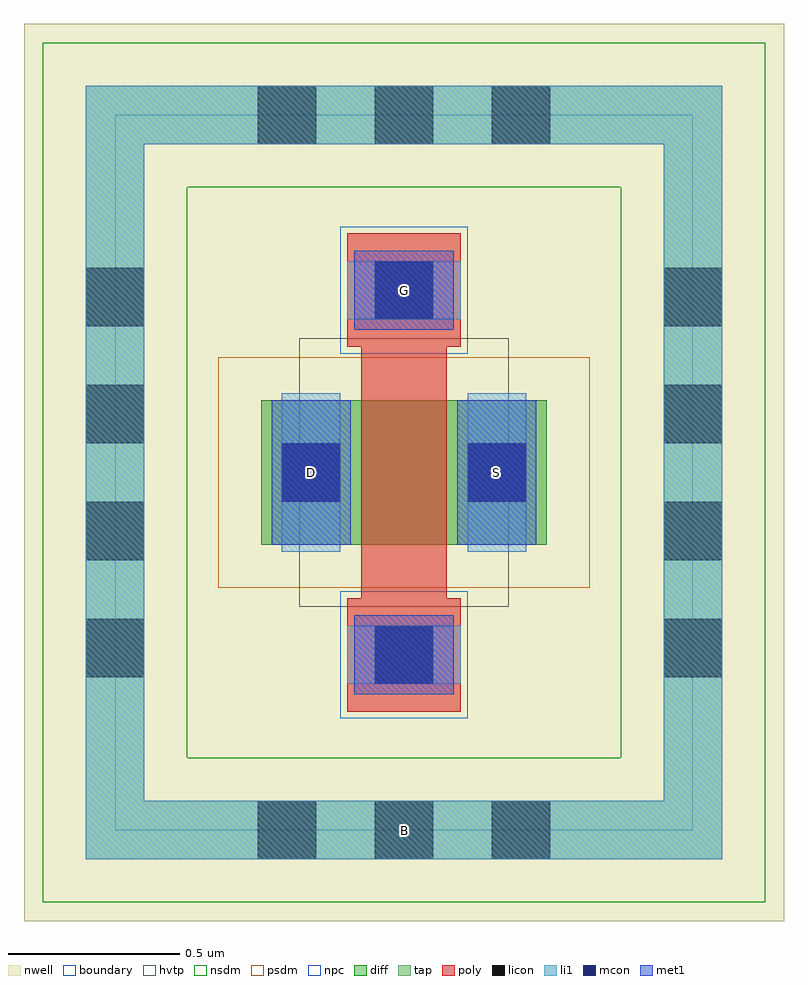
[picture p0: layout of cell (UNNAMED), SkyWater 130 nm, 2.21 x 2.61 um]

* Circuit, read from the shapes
.subckt (UNNAMED) B D G S
XM1 S G D B sky130_fd_pr__pfet_01v8_hvt w=0.42 l=0.25
.ends

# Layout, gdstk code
import gdstk
lib = gdstk.Library(unit=1e-6, precision=1e-09)
def R(c, l, rs):  # rectangles x0, y0, x1, y1
    for r in rs: c.add(gdstk.rectangle(r[:2], r[2:], *l))
def A(c, l, x, y, w, h, nx, ny, dx, dy):  # array of equal rectangles
    R(c, l, [(x+i*dx, y+j*dy, x+i*dx+w, y+j*dy+h) for i in range(nx) for j in range(ny)])
nwell = (64, 20)
diff = (65, 20)
tap = (65, 44)
poly = (66, 20)
licon = (66, 44)
li1 = (67, 20)
mcon = (67, 44)
met1 = (68, 20)
hvtp = (78, 44)
nsdm = (93, 44)
psdm = (94, 20)
npc = (95, 20)
boundary = (235, 4)

c__unnamed_ = lib.new_cell('(UNNAMED)')
R(c__unnamed_, nwell, [(-1.105,-1.305,1.105,1.305)])
R(c__unnamed_, diff, [(-0.415,-0.21,0.415,0.21)])
R(c__unnamed_, tap, [(-0.925,-1.125,0.925,-0.955), (-0.925,-0.955,-0.755,0.955), (0.755,-0.955,0.925,0.955), (-0.925,0.955,0.925,1.125)])
R(c__unnamed_, poly, [(-0.165,-0.695,0.165,-0.365), (-0.125,-0.365,0.125,0.365), (-0.165,0.365,0.165,0.695)])
A(c__unnamed_, licon, -0.425, -1.125, 0.17, 0.17, 3, 2, 0.34, 2.08)
A(c__unnamed_, licon, -0.925, -0.595, 0.17, 0.17, 1, 4, 0, 0.34)
A(c__unnamed_, licon, 0.755, -0.595, 0.17, 0.17, 1, 4, 0, 0.34)
R(c__unnamed_, licon, [(-0.085,-0.615,0.085,-0.445), (-0.355,-0.085,-0.185,0.085), (0.185,-0.085,0.355,0.085), (-0.085,0.445,0.085,0.615)])
R(c__unnamed_, li1, [(-0.925,-1.125,0.925,-0.955), (-0.925,-0.955,-0.755,0.955), (0.755,-0.955,0.925,0.955), (-0.165,-0.615,0.165,-0.445), (-0.355,-0.23,-0.185,0.23), (0.185,-0.23,0.355,0.23), (-0.165,0.445,0.165,0.615), (-0.925,0.955,0.925,1.125)])
R(c__unnamed_, mcon, [(-0.085,-0.615,0.085,-0.445), (-0.355,-0.085,-0.185,0.085), (0.185,-0.085,0.355,0.085), (-0.085,0.445,0.085,0.615)])
R(c__unnamed_, met1, [(-0.145,-0.645,0.145,-0.415), (-0.385,-0.21,-0.155,0.21), (0.155,-0.21,0.385,0.21), (-0.145,0.415,0.145,0.645)])
R(c__unnamed_, hvtp, [(-0.305,-0.39,0.305,0.39)])
R(c__unnamed_, nsdm, [(-1.05,-1.25,1.05,-0.83), (-1.05,-0.83,-0.63,0.83), (0.63,-0.83,1.05,0.83), (-1.05,0.83,1.05,1.25)])
R(c__unnamed_, psdm, [(-0.54,-0.335,0.54,0.335)])
R(c__unnamed_, npc, [(-0.185,-0.715,0.185,-0.345), (-0.185,0.345,0.185,0.715)])
R(c__unnamed_, boundary, [(-0.84,-1.04,0.84,1.04)])
c__unnamed_.add(gdstk.Label('B', (0,-1.04), layer=67, texttype=5))
c__unnamed_.add(gdstk.Label('D', (-0.27,0), layer=67, texttype=5))
c__unnamed_.add(gdstk.Label('S', (0.27,0), layer=67, texttype=5))
c__unnamed_.add(gdstk.Label('G', (0,0.53), layer=67, texttype=5))

lib.write_gds('_UNNAMED_.gds')
